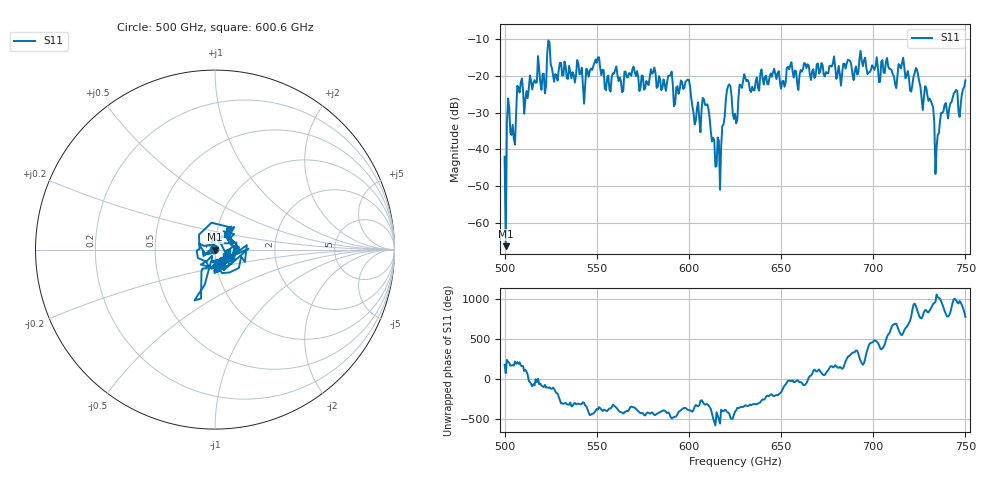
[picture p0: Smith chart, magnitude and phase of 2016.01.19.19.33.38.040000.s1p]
!Created with skrf (http://scikit-rf.org).
# GHz S RI R 50.0
!freq ReS11 ImS11
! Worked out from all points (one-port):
!   401 points, 500 GHz to 750 GHz, reference 50 ohm
!   lowest |S11| = -66.5 dB at 500.6 GHz (marker M1), VSWR 1.00, Z = 50 + j0.0453 ohm
!   |S11| at or under -10 dB: start of sweep to end of sweep
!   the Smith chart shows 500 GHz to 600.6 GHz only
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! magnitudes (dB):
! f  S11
! 500 GHz  -42.0
! 500.6 GHz  -66.5
! 502.5 GHz  -28.6
! 504.4 GHz  -33.3
! 508.1 GHz  -24.5
! 521.2 GHz  -19.4
! 524.4 GHz  -11.0
! 527.5 GHz  -19.5
! 531.2 GHz  -19.9
! 543.8 GHz  -22.2
! 550 GHz  -16.4
! 562.5 GHz  -20.4
! 580.6 GHz  -19.0
! 593.8 GHz  -22.8
! 599.4 GHz  -21.0
! 605 GHz  -27.2
! 608.8 GHz  -27.9
! 615.6 GHz  -36.8
! 621.2 GHz  -22.8
! 625 GHz  -30.3
! 630.6 GHz  -20.5
! 656.2 GHz  -18.7
! 687.5 GHz  -15.9
! 718.8 GHz  -18.7
! 729.4 GHz  -25.2
! 734.4 GHz  -39.4
! 738.1 GHz  -29.6
! 750 GHz  -21.2
